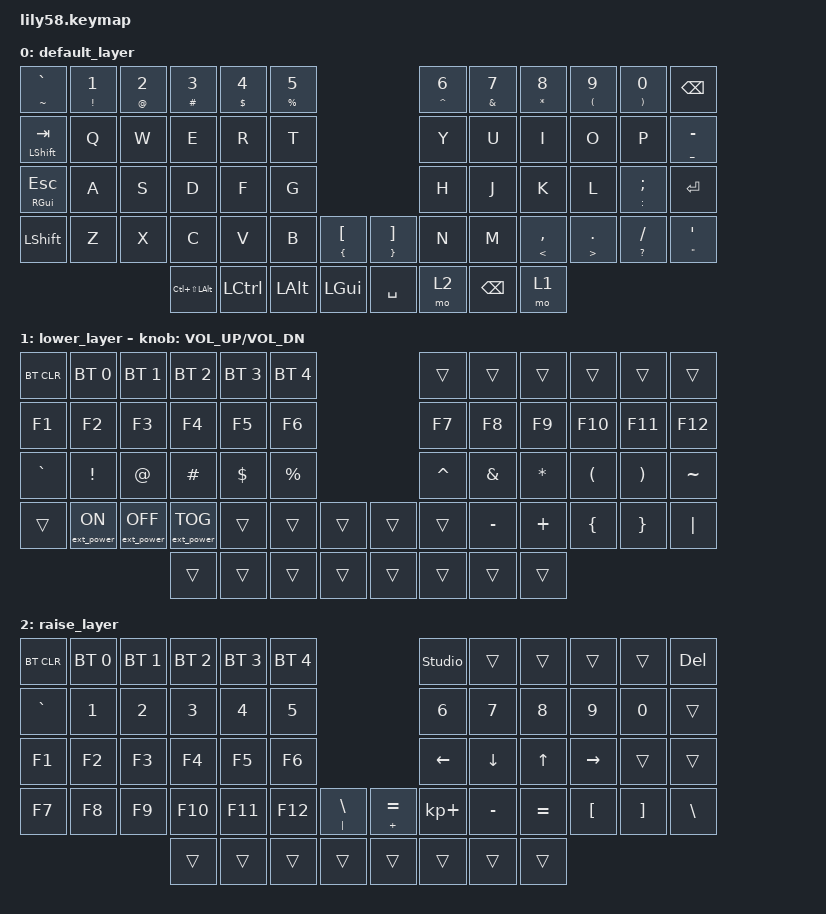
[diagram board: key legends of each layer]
/*
 * Copyright (c) 2020 The ZMK Contributors
 *
 * SPDX-License-Identifier: MIT
 */

#include <behaviors.dtsi>
#include <dt-bindings/zmk/bt.h>
#include <dt-bindings/zmk/ext_power.h>
#include <dt-bindings/zmk/keys.h>

/ {
    keymap {
        compatible = "zmk,keymap";

        default_layer {
            // ------------------------------------------------------------------------------------------------------------
            // |  ESC  |  1  |  2  |  3   |  4   |  5   |                   |  6   |  7    |  8    |  9   |   0   |   `   |
            // |  TAB  |  Q  |  W  |  E   |  R   |  T   |                   |  Y   |  U    |  I    |  O   |   P   |   -   |
            // |  CTRL |  A  |  S  |  D   |  F   |  G   |                   |  H   |  J    |  K    |  L   |   ;   |   '   |
            // | SHIFT |  Z  |  X  |  C   |  V   |  B   |   "["  |  |  "]"  |  N   |  M    |  ,    |  .   |   /   | SHIFT |
            //                     | ALT  | GUI  | LOWER|  SPACE |  | ENTER | RAISE| BSPC  | GUI   |

            bindings = <
&mt TILDE GRAVE     &mt EXCL N1  &mt AT N2  &mt HASH N3           &mt DOLLAR N4  &mt PERCENT N5                                               &mt CARET N6  &mt AMPS N7  &mt ASTRK N8         &mt LEFT_PARENTHESIS N9  &mt RIGHT_PARENTHESIS N0  &kp BSPC
&mt LEFT_SHIFT TAB  &kp Q        &kp W      &kp E                 &kp R          &kp T                                                        &kp Y         &kp U        &kp I                &kp O                    &kp P                     &mt UNDERSCORE MINUS
&mt RIGHT_GUI ESC   &kp A        &kp S      &kp D                 &kp F          &kp G                                                        &kp H         &kp J        &kp K                &kp L                    &mt COLON SEMICOLON       &kp ENTER
&kp LSHFT           &kp Z        &kp X      &kp C                 &kp V          &kp B           &mt LEFT_BRACE LBKT    &mt RIGHT_BRACE RBKT  &kp N         &kp M        &mt LESS_THAN COMMA  &mt GREATER_THAN DOT     &mt QUESTION SLASH        &mt DOUBLE_QUOTES SINGLE_QUOTE
                                            &kp LC(LS(LEFT_ALT))  &kp LCTRL      &kp LEFT_ALT    &kp LEFT_GUI           &kp SPACE             &mo 2         &kp BSPC     &mo 1
            >;
        };

        lower_layer {
            // ------------------------------------------------------------------------------------------------------------
            // | BTCLR | BT1 | BT2 |  BT3 |  BT4 |  BT5 |                   |      |       |       |      |       |       |
            // |  F1   |  F2 |  F3 |  F4  |  F5  |  F6  |                   |  F7  |  F8   |  F9   |  F10 |  F11  |  F12  |
            // |   `   |  !  |  @  |  #   |  $   |  %   |                   |  ^   |  &    |  *    |  (   |   )   |   ~   |
            // |       |     |     |      |      |      |        |  |       |      |  _    |  +    |  {   |   }   |  "|"  |
            //                     |      |      |      |        |  |       |      |       |       |

            bindings = <
&bt BT_CLR  &bt BT_SEL 0      &bt BT_SEL 1       &bt BT_SEL 2       &bt BT_SEL 3  &bt BT_SEL 4                    &trans     &trans     &trans     &trans    &trans    &trans
&kp F1      &kp F2            &kp F3             &kp F4             &kp F5        &kp F6                          &kp F7     &kp F8     &kp F9     &kp F10   &kp F11   &kp F12
&kp GRAVE   &kp EXCL          &kp AT             &kp HASH           &kp DOLLAR    &kp PRCNT                       &kp CARET  &kp AMPS   &kp ASTRK  &kp LPAR  &kp RPAR  &kp TILDE
&trans      &ext_power EP_ON  &ext_power EP_OFF  &ext_power EP_TOG  &trans        &trans        &trans    &trans  &trans     &kp MINUS  &kp PLUS   &kp LBRC  &kp RBRC  &kp PIPE
                                                 &trans             &trans        &trans        &trans    &trans  &trans     &trans     &trans
            >;

            sensor-bindings = <&inc_dec_kp C_VOL_UP C_VOL_DN>;
        };

        raise_layer {
            // ------------------------------------------------------------------------------------------------------------
            // |       |     |     |      |      |      |                   |   studio_unlock   |       |       |      |       |       |
            // |   `   |  1  |  2  |  3   |  4   |  5   |                   |  6   |   7   |   8   |  9   |   0   |       |
            // |   F1  |  F2 |  F3 |  F4  |  F5  |  F6  |                   |      |   <-  |   v   |  ^   |  ->   |       |
            // |   F7  |  F8 |  F9 |  F10 |  F11 |  F12 |        |  |       |  +   |   -   |   =   |  [   |   ]   |   \   |
            //                     |      |      |      |        |  |       |      |       |       |

            bindings = <
&bt BT_CLR  &bt BT_SEL 0  &bt BT_SEL 1  &bt BT_SEL 2  &bt BT_SEL 3  &bt BT_SEL 4                                        &studio_unlock  &trans     &trans     &trans     &trans    &kp DELETE
&kp GRAVE   &kp N1        &kp N2        &kp N3        &kp N4        &kp N5                                              &kp N6          &kp N7     &kp N8     &kp N9     &kp N0    &trans
&kp F1      &kp F2        &kp F3        &kp F4        &kp F5        &kp F6                                              &kp LEFT        &kp DOWN   &kp UP     &kp RIGHT  &trans    &trans
&kp F7      &kp F8        &kp F9        &kp F10       &kp F11       &kp F12       &mt PIPE BACKSLASH    &mt PLUS EQUAL  &kp KP_PLUS     &kp MINUS  &kp EQUAL  &kp LBKT   &kp RBKT  &kp BSLH
                                        &trans        &trans        &trans        &trans                &trans          &trans          &trans     &trans
            >;
        };
    };
};
